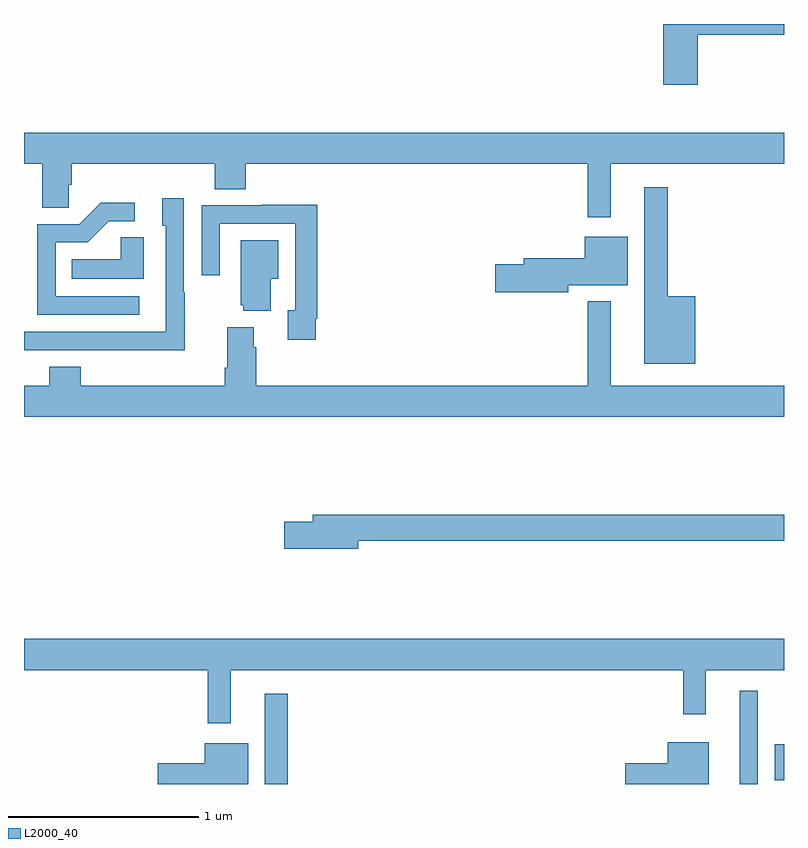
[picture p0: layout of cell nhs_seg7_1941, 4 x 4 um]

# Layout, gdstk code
import gdstk
lib = gdstk.Library(unit=1e-6, precision=1e-09)
def R(c, l, rs):  # rectangles x0, y0, x1, y1
    for r in rs: c.add(gdstk.rectangle(r[:2], r[2:], *l))
def P(c, l, *ps):  # polygons
    for p in ps: c.add(gdstk.Polygon(p, *l))
L2000_40 = (2000, 40)

nhs_seg7_1941 = lib.new_cell('nhs_seg7_1941')
R(nhs_seg7_1941, L2000_40, [(242.267,1016,242.389,1016.476), (244.766,1016,244.863,1016.491), (244.952,1016.021,245,1016.209)])
P(nhs_seg7_1941, L2000_40, [(244.547,1019.944),(245,1019.944),(245,1020),(244.364,1020),(244.364,1019.679),(244.547,1019.679)],
  [(244.087,1019.264),(245,1019.264),(245,1019.428),(241,1019.428),(241,1019.264),(241.097,1019.264),(241.097,1019.032),(241.236,1019.032),(241.236,1019.155),(241.25,1019.155),(241.25,1019.264),(242.003,1019.264),(242.003,1019.131),(242.168,1019.131),(242.168,1019.264),(243.966,1019.264),(243.966,1018.983),(244.087,1018.983)],
  [(244.534,1018.567),(244.387,1018.567),(244.387,1019.14),(244.265,1019.14),(244.265,1018.211),(244.534,1018.211)],
  [(241.845,1018.589),(241.842,1018.589),(241.842,1019.083),(241.727,1019.083),(241.727,1018.938),(241.746,1018.938),(241.746,1018.38),(241,1018.38),(241,1018.284),(241.381,1018.284),(241.381,1018.283),(241.845,1018.283)],
  [(241.606,1018.566),(241.167,1018.566),(241.167,1018.851),(241.336,1018.851),(241.447,1018.962),(241.582,1018.962),(241.582,1019.06),(241.403,1019.06),(241.29,1018.947),(241.071,1018.947),(241.071,1018.47),(241.606,1018.47)],
  [(242.536,1018.45),(242.543,1018.45),(242.543,1019.048),(242.251,1019.048),(242.251,1019.046),(241.935,1019.046),(241.935,1018.677),(242.031,1018.677),(242.031,1018.95),(242.427,1018.95),(242.427,1018.494),(242.387,1018.494),(242.387,1018.338),(242.536,1018.338)],
  [(243.864,1018.625),(244.177,1018.625),(244.177,1018.879),(243.95,1018.879),(243.95,1018.766),(243.629,1018.766),(243.629,1018.736),(243.48,1018.736),(243.48,1018.589),(243.864,1018.589)],
  [(241.63,1018.877),(241.509,1018.877),(241.509,1018.762),(241.252,1018.762),(241.252,1018.658),(241.63,1018.658)],
  [(242.299,1018.658),(242.338,1018.658),(242.338,1018.861),(242.141,1018.861),(242.141,1018.521),(242.153,1018.521),(242.153,1018.49),(242.299,1018.49)],
  [(245,1018.096),(244.087,1018.096),(244.087,1018.54),(243.966,1018.54),(243.966,1018.096),(242.222,1018.096),(242.222,1018.298),(242.209,1018.298),(242.209,1018.405),(242.069,1018.405),(242.069,1018.192),(242.057,1018.192),(242.057,1018.096),(241.298,1018.096),(241.298,1018.195),(241.133,1018.195),(241.133,1018.096),(241,1018.096),(241,1017.932),(245,1017.932)],
  [(242.758,1017.28),(245,1017.28),(245,1017.416),(242.519,1017.416),(242.519,1017.38),(242.37,1017.38),(242.37,1017.238),(242.758,1017.238)],
  [(242.089,1016.6),(244.471,1016.6),(244.471,1016.367),(244.589,1016.367),(244.589,1016.6),(245,1016.6),(245,1016.764),(241,1016.764),(241,1016.6),(241.968,1016.6),(241.968,1016.319),(242.089,1016.319)],
  [(244.603,1016.221),(244.388,1016.221),(244.388,1016.108),(244.164,1016.108),(244.164,1016),(244.603,1016)],
  [(242.179,1016.215),(241.952,1016.215),(241.952,1016.109),(241.704,1016.109),(241.704,1016),(242.179,1016)])

lib.write_gds('nhs_seg7_1941.gds')
